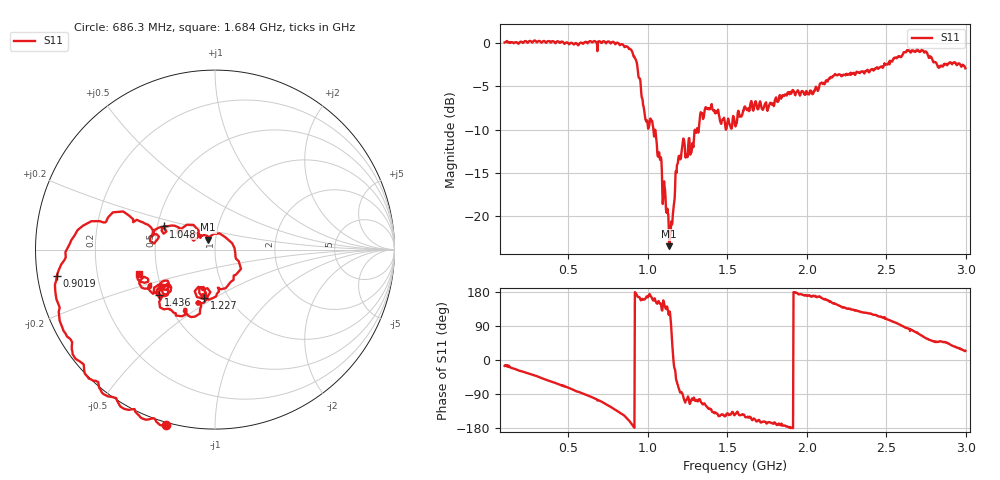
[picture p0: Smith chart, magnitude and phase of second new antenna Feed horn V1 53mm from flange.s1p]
# HZ S RI R 50
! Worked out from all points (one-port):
!   1009 points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, 100 MHz to 2.997 GHz, reference 50 ohm
!   lowest |S11| = -23.5 dB at 1.135 GHz (marker M1), VSWR 1.14, Z = 46 + j5.12 ohm
!   |S11| at or under -10 dB: 1.035 GHz to 1.309 GHz (273.6 MHz wide, 23.3 % of centre); 1.313 GHz to 1.32 GHz (7.564 MHz wide, 0.575 % of centre); 1.490948 GHz to 1.491552 GHz (604 kHz wide, 0.0405 % of centre)
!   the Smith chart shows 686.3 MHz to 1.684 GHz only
!   S11 on the Smith chart (normalised r, x): 686.3 MHz: -0.01, -0.76; 901.9 MHz: 0.06, -0.08; 1.048 GHz: 0.54, +0.15; 1.227 GHz: 0.77, -0.45; 1.436 GHz: 0.47, -0.28; 1.684 GHz: 0.39, -0.13
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1e8  0.9714 -0.2695
2.983152e8  0.7564 -0.6815
4.621408e8  0.3963 -0.9388
6.863231e8  -0.2711 -0.9789
7.581765e8  -0.5321 -0.8668
8.242815e8  -0.7319 -0.6389
8.616452e8  -0.8329 -0.4672
9.018831e8  -0.8813 -0.146
9.478692e8  -0.6071 0.1547
9.85233e8  -0.3456 0.1075
1.048464e9  -0.286 0.1293
1.134688e9  -0.0382 0.0553
1.149059e9  0.0254 0.0901
1.186422e9  0.0888 -0.179
1.22666e9  -0.0588 -0.2709
1.278395e9  -0.05 -0.2429
1.3445e9  -0.1735 -0.3433
1.436472e9  -0.3143 -0.2513
1.548563e9  -0.2722 -0.1982
1.683647e9  -0.4207 -0.1364
1.910704e9  -0.5355 -0.00287
2.080278e9  -0.5609 0.1195
2.272845e9  -0.4584 0.4697
2.474034e9  -0.2826 0.6739
2.634985e9  0.1074 0.9004
2.758573e9  0.484 0.7151
2.844797e9  0.4822 0.555
2.997126e9  0.6519 0.2928
